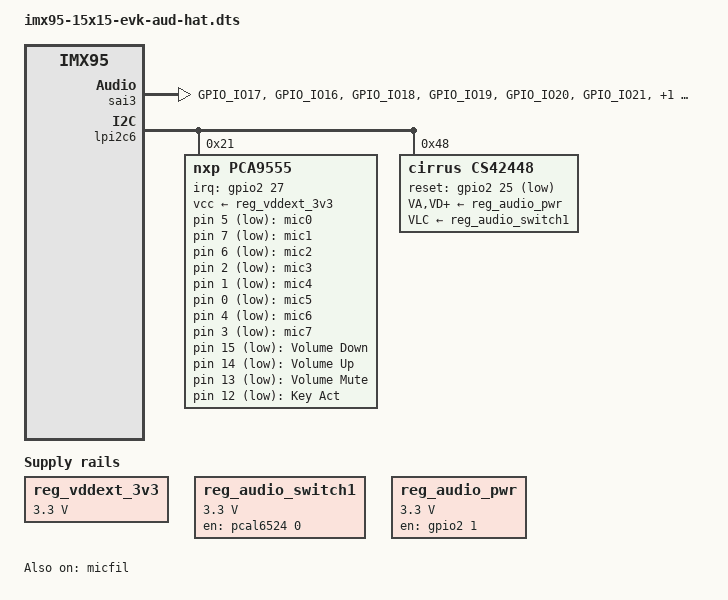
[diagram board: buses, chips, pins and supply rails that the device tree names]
// SPDX-License-Identifier: (GPL-2.0+ OR MIT)
/*
 * Copyright 2024 NXP
 */

#include "imx95-15x15-evk.dts"

/ {
	mic_leds {
		compatible = "gpio-leds";
		mic0 {
			label = "mic0";
			gpios = <&pca9555 5 GPIO_ACTIVE_LOW>;
			default-state = "off";
		};
		mic1 {
			label = "mic1";
			gpios = <&pca9555 7 GPIO_ACTIVE_LOW>;
			default-state = "off";
		};
		mic2 {
			label = "mic2";
			gpios = <&pca9555 6 GPIO_ACTIVE_LOW>;
			default-state = "off";
		};
		mic3 {
			label = "mic3";
			gpios = <&pca9555 2 GPIO_ACTIVE_LOW>;
			default-state = "off";
		};
		mic4 {
			label = "mic4";
			gpios = <&pca9555 1 GPIO_ACTIVE_LOW>;
			default-state = "off";
		};
		mic5 {
			label = "mic5";
			gpios = <&pca9555 0 GPIO_ACTIVE_LOW>;
			default-state = "off";
		};
		mic6 {
			label = "mic6";
			gpios = <&pca9555 4 GPIO_ACTIVE_LOW>;
			default-state = "off";
		};
		mic7 {
			label = "mic7";
			gpios = <&pca9555 3 GPIO_ACTIVE_LOW>;
			default-state = "off";
		};
	};

	sw_keys {
		compatible = "gpio-keys";

		sw4: volume_down {
			label = "Volume Down";
			gpios = <&pca9555 15 GPIO_ACTIVE_LOW>;
			linux,code = <KEY_VOLUMEDOWN>;
			interrupt-parent = <&pca9555>;
			interrupts = <15 IRQ_TYPE_LEVEL_LOW>;
		};

		sw3: volume_up {
			label = "Volume Up";
			gpios = <&pca9555 14 GPIO_ACTIVE_LOW>;
			linux,code = <KEY_VOLUMEUP>;
			interrupt-parent = <&pca9555>;
			interrupts = <14 IRQ_TYPE_LEVEL_LOW>;
		};

		sw2: volume_mute {
			label = "Volume Mute";
			gpios = <&pca9555 13 GPIO_ACTIVE_LOW>;
			linux,code = <KEY_MUTE>;
			interrupt-parent = <&pca9555>;
			interrupts = <13 IRQ_TYPE_LEVEL_LOW>;
		};

		sw1: key_act {
			label = "Key Act";
			gpios = <&pca9555 12 GPIO_ACTIVE_LOW>;
			linux,code = <KEY_F9>;
			interrupt-parent = <&pca9555>;
			interrupts = <12 IRQ_TYPE_LEVEL_LOW>;
		};
	};

	reg_vddext_3v3: regulator-vddext {
		compatible = "regulator-fixed";
		regulator-name = "VDDEXT_3V3";
		regulator-min-microvolt = <3300000>;
		regulator-max-microvolt = <3300000>;
	};

	reg_audio_switch1: regulator-audio-switch1 {
		compatible = "regulator-fixed";
		regulator-name = "audio-switch1";
		regulator-min-microvolt = <3300000>;
		regulator-max-microvolt = <3300000>;
		gpio = <&pcal6524 0 GPIO_ACTIVE_HIGH>;
		enable-active-high;
		regulator-always-on;
	};

	reg_audio_pwr: regulator-audio-pwr {
		compatible = "regulator-fixed";
		pinctrl-names = "default";
		pinctrl-0 = <&pinctrl_audio_pwr>;
		regulator-name = "cs42448-supply";
		regulator-min-microvolt = <3300000>;
		regulator-max-microvolt = <3300000>;
		gpio = <&gpio2 1 GPIO_ACTIVE_HIGH>;
		enable-active-high;
		regulator-always-on;
	};

	sound-wm8962 {
		status = "disabled";
	};

	sound-cs42448 {
		compatible = "fsl,imx-audio-card";
		model = "imx-cs42448";
		status = "okay";
		pri-dai-link {
			link-name = "cs42448";
			format = "dsp_a";
			dai-tdm-slot-num = <8>;
			dai-tdm-slot-width = <32>;
			fsl,mclk-equal-bclk;
			cpu {
				sound-dai = <&sai3>;
			};
			codec {
				sound-dai = <&cs42448>;
			};
		};
	};

};

&sai3 {
	#sound-dai-cells = <0>;
	pinctrl-names = "default";
	pinctrl-0 = <&pinctrl_sai3audhat>;
	clocks = <&scmi_clk IMX95_CLK_BUSWAKEUP>, <&dummy>,
		 <&scmi_clk IMX95_CLK_SAI3>, <&dummy>,
		 <&dummy>,
		 <&scmi_clk IMX95_CLK_AUDIOPLL1>,
		 <&scmi_clk IMX95_CLK_AUDIOPLL2>;
	clock-names = "bus", "mclk0", "mclk1", "mclk2", "mclk3",
		      "pll8k", "pll11k";
	assigned-clocks = <&scmi_clk IMX95_CLK_AUDIOPLL1_VCO>,
			  <&scmi_clk IMX95_CLK_AUDIOPLL2_VCO>,
			  <&scmi_clk IMX95_CLK_AUDIOPLL1>,
			  <&scmi_clk IMX95_CLK_AUDIOPLL2>,
			  <&scmi_clk IMX95_CLK_SAI3>;
	assigned-clock-parents = <0>, <0>, <0>, <0>,
				 <&scmi_clk IMX95_CLK_AUDIOPLL1>;
	assigned-clock-rates = <3932160000>,
			       <3612672000>, <393216000>,
			       <361267200>, <12288000>;
	fsl,sai-asynchronous;
	fsl,sai-mclk-direction-output;
	status = "okay";
};

&flexcan2 {
	status = "disabled";
};

&micfil {
	pinctrl-names = "default";
	pinctrl-0 = <&pinctrl_pdm2>;
	status = "okay";
};

&lpi2c6 {
	pca9555: gpio@21 {
		compatible = "nxp,pca9555";
		pinctrl-names = "default";
		pinctrl-0 = <&pinctrl_pushbutton_irq>;
		reg = <0x21>;
		gpio-controller;
		#gpio-cells = <2>;
		interrupt-controller;
		#interrupt-cells = <2>;
		interrupt-parent = <&gpio2>;
		interrupts = <27 IRQ_TYPE_LEVEL_LOW>;
		vcc-supply = <&reg_vddext_3v3>;
		status = "okay";
	};

	cs42448: cs42448@48 {
		#sound-dai-cells = <0>;
		compatible = "cirrus,cs42448";
		pinctrl-names = "default";
		pinctrl-0 = <&pinctrl_codec_reset>;
		reg = <0x48>;
		clocks = <&scmi_clk IMX95_CLK_SAI3>;
		clock-names = "mclk";
		VA-supply = <&reg_audio_pwr>;
		VD-supply = <&reg_audio_pwr>;
		VLS-supply = <&reg_audio_pwr>;
		VLC-supply = <&reg_audio_switch1>;
		reset-gpio = <&gpio2 25 GPIO_ACTIVE_LOW>;
		status = "okay";
	};
};

&scmi_iomuxc {
	pinctrl_swpdm_mute_irq: swpdm_mute_grp {
		fsl,pins = <
			IMX95_PAD_GPIO_IO00__GPIO2_IO_BIT0			0x31e
		>;
	};

	pinctrl_pushbutton_irq: pushbutton_grp {
		fsl,pins = <
			IMX95_PAD_GPIO_IO27__GPIO2_IO_BIT27			0x31e
		>;
	};

	pinctrl_pdm2: pdm2grp {
		fsl,pins = <
			IMX95_PAD_GPIO_IO04__AONMIX_TOP_PDM_CLK			0x31e
			IMX95_PAD_GPIO_IO05__AONMIX_TOP_PDM_BIT_STREAM_BIT0	0x31e
			IMX95_PAD_GPIO_IO06__AONMIX_TOP_PDM_BIT_STREAM_BIT1	0x31e
			IMX95_PAD_GPIO_IO12__AONMIX_TOP_PDM_BIT_STREAM_BIT2	0x31e
			IMX95_PAD_GPIO_IO13__AONMIX_TOP_PDM_BIT_STREAM_BIT3	0x31e
		>;
	};

	pinctrl_sai3audhat: sai3audhat {
		fsl,pins = <
			IMX95_PAD_GPIO_IO17__SAI3_MCLK			0x31e
			IMX95_PAD_GPIO_IO16__SAI3_TX_BCLK		0x31e
			IMX95_PAD_GPIO_IO18__SAI3_RX_BCLK		0x31e
			IMX95_PAD_GPIO_IO19__SAI3_RX_SYNC		0x31e
			IMX95_PAD_GPIO_IO20__SAI3_RX_DATA_BIT0		0x31e
			IMX95_PAD_GPIO_IO21__SAI3_TX_DATA_BIT0		0x31e
			IMX95_PAD_GPIO_IO26__SAI3_TX_SYNC		0x31e
		>;
	};

	pinctrl_audio_pwr: audiopwrgrp {
		fsl,pins = <
			IMX95_PAD_GPIO_IO01__GPIO2_IO_BIT1		0x31e
		>;
	};

	pinctrl_codec_reset: codecresetgrp {
		fsl,pins = <
			IMX95_PAD_GPIO_IO25__GPIO2_IO_BIT25		0x31e
		>;
	};
};
